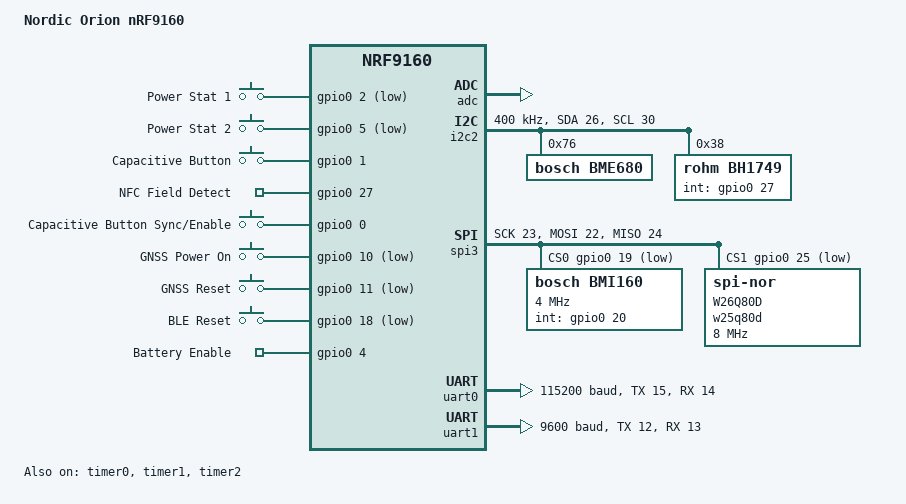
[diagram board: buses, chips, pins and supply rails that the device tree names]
/*
 * Copyright (c) 2019 Nordic Semiconductor ASA
 *
 * SPDX-License-Identifier: LicenseRef-BSD-5-Clause-Nordic
 */

/ {
	model = "Nordic Orion nRF9160";
	compatible = "nordic,orion-nrf9160";

	chosen {
		zephyr,console = &uart0;
		zephyr,bt-uart=&uart0;
	};

		gpio_in {
		compatible = "gpio-keys";

		pwr_stat1: 1 {
			gpios = <&gpio0 2 (GPIO_PULL_UP | GPIO_ACTIVE_LOW)>;
			label = "Power Stat 1";
		};
		pwr_stat2: 2 {
			gpios = <&gpio0 5 (GPIO_PULL_UP | GPIO_ACTIVE_LOW)>;
			label = "Power Stat 2";
		};
		button: 3 {
			gpios = <&gpio0 1 (GPIO_PULL_DOWN | GPIO_ACTIVE_HIGH)>;
			label = "Capacitive Button";
		};
		nfc_fd: 4 {
			gpios = <&gpio0 27 (GPIO_PULL_DOWN | GPIO_ACTIVE_HIGH)>;
			label = "NFC Field Detect";
		};
	};

	gpio_out {
		compatible = "gpio-keys";

		button_en: 1 {
			gpios = <&gpio0 0 GPIO_ACTIVE_HIGH>;
			label = "Capacitive Button Sync/Enable";
		};
		gnss_en: 2 {
			gpios = <&gpio0 10 GPIO_ACTIVE_LOW>;
			label = "GNSS Power On";
		};
		gnss_rst: 3 {
			gpios = <&gpio0 11 GPIO_ACTIVE_LOW>;
			label = "GNSS Reset";
		};
		ble_rst: 4 {
			gpios = <&gpio0 18 GPIO_ACTIVE_LOW>;
			label = "BLE Reset";
		};
		batt_en: 5 {
			gpios = <&gpio0 4 GPIO_ACTIVE_HIGH>;
			label = "Battery Enable";
		};
	};

	aliases {
		uart-gnss = &uart1;
		sensor-imu = &bmi160;
	};
};

&adc {
	status = "okay";
};

&gpiote {
	status = "okay";
};

&gpio0 {
	status = "okay";
};

&i2c2 {
	compatible = "nordic,nrf-twim";
	status = "okay";
	sda-pin = <26>;
	scl-pin = <30>;
	clock-frequency = <I2C_BITRATE_FAST>;

	bme680@76 {
		compatible = "bosch,bme680";
		label = "BME680";
		reg = <0x76>;
	};

	bh1749@38 {
			compatible = "rohm,bh1749";
			label = "BH1749";
			reg = <0x38>;
			int-gpios = <&gpio0 27 0>;
	};
};

&spi3 {
	compatible = "nordic,nrf-spim";
	status = "okay";
	sck-pin = <23>;
	mosi-pin = <22>;
	miso-pin = <24>;
	cs-gpios = <&gpio0 19 GPIO_ACTIVE_LOW>, <&gpio0 25 GPIO_ACTIVE_LOW>;

	bmi160: bmi160@0 {
		compatible = "bosch,bmi160";
		label = "BMI160";
		spi-max-frequency = <4000000>;
		reg = <0>;
		int-gpios = <&gpio0 20 GPIO_ACTIVE_HIGH>;
	};

	w25q80d: w25q80d@1 {
		compatible = "jedec,spi-nor";
		label = "W26Q80D";
		spi-max-frequency = <8000000>;
		reg = <1>;
	};
};

&timer0 {
	status = "okay";
};

&timer1 {
	status = "okay";
};

&timer2 {
	status = "okay";
};

&uart0 {
	compatible = "nordic,nrf-uarte";
	current-speed = <115200>;
	status = "okay";
	tx-pin = <15>;
	rx-pin = <14>;
	rts-pin = <16>;
	cts-pin = <17>;
};

&uart1 {
	compatible = "nordic,nrf-uarte";
	current-speed = <9600>;
	status = "okay";
	tx-pin = <12>;
	rx-pin = <13>;
	rts-pin = <0xFFFFFFFF>;
	cts-pin = <0xFFFFFFFF>;
};

&flash0 {
	/*
	 * For more information, see:
	 * http://docs.zephyrproject.org/devices/dts/flash_partitions.html
	 */
	partitions {
		compatible = "fixed-partitions";
		#address-cells = <1>;
		#size-cells = <1>;

		boot_partition: partition@0 {
			label = "mcuboot";
			reg = <0x00000000 0x10000>;
		};
		slot0_partition: partition@10000 {
			label = "image-0";
		};
		slot0_ns_partition: partition@40000 {
			label = "image-0-nonsecure";
		};
		slot1_partition: partition@80000 {
			label = "image-1";
		};
		slot1_ns_partition: partition@b0000 {
			label = "image-1-nonsecure";
		};
		scratch_partition: partition@f0000 {
			label = "image-scratch";
			reg = <0x000f0000 0xa000>;
		};
		storage_partition: partition@fa000 {
			label = "storage";
			reg = <0x000fa000 0x00006000>;
		};
	};
};

/ {

	reserved-memory {
		#address-cells = <1>;
		#size-cells = <1>;
		ranges;

		sram0_s: image_s@20000000 {
			/* Secure image memory */
		};

		sram0_bsd: image_bsd@20010000 {
			/* BSD (shared) memory */
		};

		sram0_ns: image_ns@20020000 {
			/* Non-Secure image memory */
		};
	};
};

/* Include partition configuration file */
#include "orion_nrf9160_partition_conf.dts"
